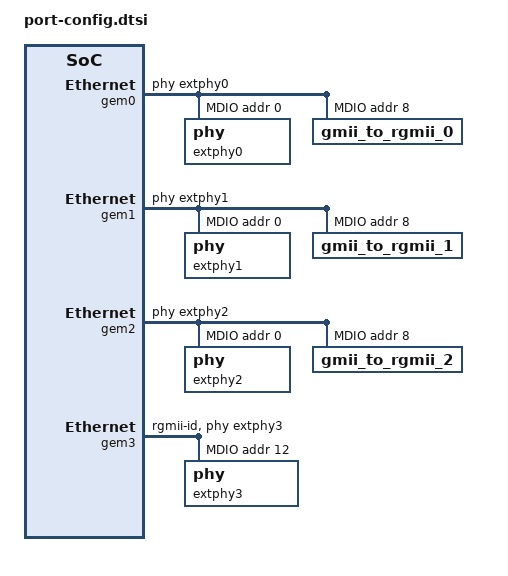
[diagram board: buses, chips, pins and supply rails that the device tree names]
// SPDX-License-Identifier: MIT
// Copyright (C) 2025-2026, Opsero Electronic Design Inc.  All rights reserved.

/*
 * Ethernet FMC Zynq GEM port config: ports-012-.
 *
 * Per-port external-PHY wiring (MAC address, phy-handle, MDIO bus, phy-mode)
 * layered on the SDT-generated Linux device tree. Selected per target by
 * Yocto/scripts/configure-build.sh from the target's lane-derived port config.
 */

&gem0 {
        local-mac-address = [00 0a 35 00 01 22];
        phy-handle = <&extphy0>;
        status = "okay";
        xlnx,has-mdio = <0x1>;
        psu_ethernet_0_mdio: mdio {
                #address-cells = <1>;
                #size-cells = <0>;
                extphy0: phy@0 {
                        device_type = "ethernet-phy";
                        reg = <0>;
                };
                gmii_to_rgmii_0: gmii_to_rgmii_0@8 {
                        phy-handle = <&extphy0>;
                        reg = <8>;
                };
        };
    };  
      
    &gem1 {
        local-mac-address = [00 0a 35 00 01 23];
        phy-handle = <&extphy1>;
        status = "okay";
        xlnx,has-mdio = <0x1>;
        psu_ethernet_1_mdio: mdio {
                #address-cells = <1>;
                #size-cells = <0>;
                extphy1: phy@0 {
                        device_type = "ethernet-phy";
                        reg = <0>;
                };
                gmii_to_rgmii_1: gmii_to_rgmii_1@8 {
                        phy-handle = <&extphy1>;
                        reg = <8>;
                };
        };
    };  
      
    &gem2 {
        local-mac-address = [00 0a 35 00 01 24];
        phy-handle = <&extphy2>;
        status = "okay";
        xlnx,has-mdio = <0x1>;
        psu_ethernet_2_mdio: mdio {
                #address-cells = <1>;
                #size-cells = <0>;
                extphy2: phy@0 {
                        device_type = "ethernet-phy";
                        reg = <0>;
                };
                gmii_to_rgmii_2: gmii_to_rgmii_2@8 {
                        phy-handle = <&extphy2>;
                        reg = <8>;
                };
        };
    };  
    
    /* GEM3 may be connected to the on-board Ethernet port via MIO */

    &gem3 {
        local-mac-address = [00 0a 35 00 01 25];
        phy-handle = <&extphy3>;
        phy-mode = "rgmii-id";
        status = "okay";
        xlnx,ptp-enet-clock = <0x69f6bcb>;
        xlnx,has-mdio = <0x1>;
        psu_ethernet_3_mdio: mdio {
                #address-cells = <1>;
                #size-cells = <0>;
                extphy3: phy@0x0c {
                        reg = <0x0c>;
                        ti,rx-internal-delay = <0x8>;
                        ti,tx-internal-delay = <0xa>;
                        ti,fifo-depth = <0x1>;
                };
        };
    };  
      
